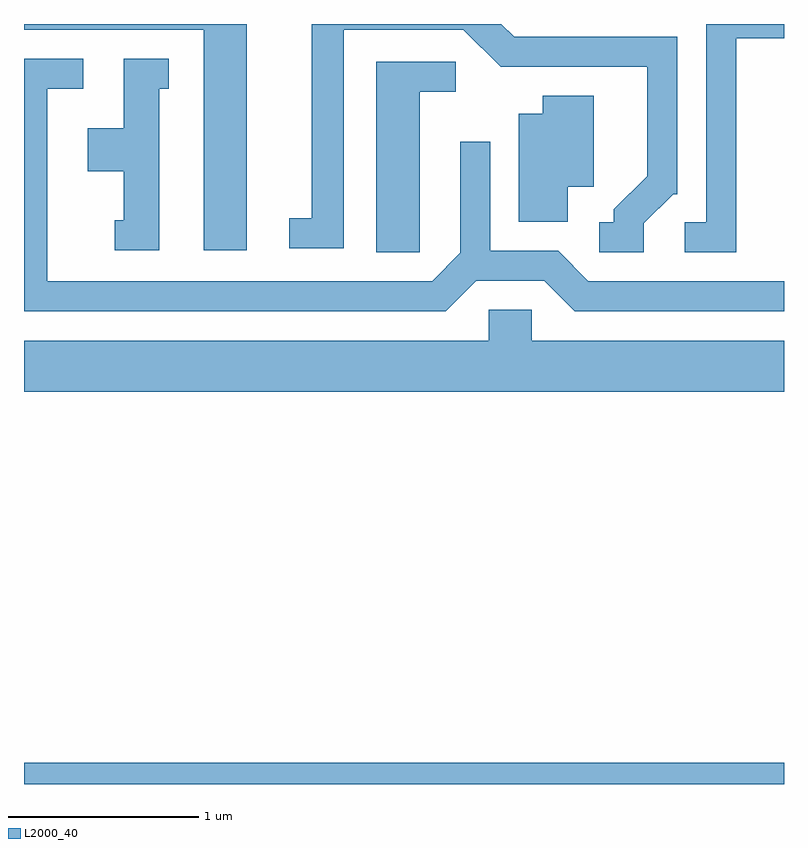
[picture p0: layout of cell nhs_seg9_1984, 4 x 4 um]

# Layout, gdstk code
import gdstk
lib = gdstk.Library(unit=1e-6, precision=1e-09)
def R(c, l, rs):  # rectangles x0, y0, x1, y1
    for r in rs: c.add(gdstk.rectangle(r[:2], r[2:], *l))
def P(c, l, *ps):  # polygons
    for p in ps: c.add(gdstk.Polygon(p, *l))
L2000_40 = (2000, 40)

nhs_seg9_1984 = lib.new_cell('nhs_seg9_1984')
R(nhs_seg9_1984, L2000_40, [(243.611,1976.432,247.611,1976.544)])
P(nhs_seg9_1984, L2000_40, [(244.784,1980.432),(243.611,1980.432),(243.611,1980.401),(244.556,1980.401),(244.556,1979.241),(244.784,1979.241)],
  [(247.359,1980.356),(247.611,1980.356),(247.611,1980.432),(247.201,1980.432),(247.201,1979.389),(247.088,1979.389),(247.088,1979.231),(247.359,1979.231)],
  [(246.874,1979.384),(247.027,1979.536),(247.049,1979.536),(247.049,1980.364),(246.192,1980.364),(246.124,1980.432),(245.126,1980.432),(245.126,1979.409),(245.008,1979.409),(245.008,1979.251),(245.294,1979.251),(245.294,1980.401),(245.924,1980.401),(246.119,1980.206),(246.891,1980.206),(246.891,1979.632),(246.716,1979.457),(246.716,1979.389),(246.638,1979.389),(246.638,1979.231),(246.874,1979.231)],
  [(245.992,1979.081),(246.349,1979.081),(246.509,1978.921),(247.611,1978.921),(247.611,1979.079),(246.582,1979.079),(246.422,1979.239),(246.064,1979.239),(246.064,1979.813),(245.906,1979.813),(245.906,1979.227),(245.759,1979.079),(243.734,1979.079),(243.734,1980.091),(243.923,1980.091),(243.923,1980.249),(243.611,1980.249),(243.611,1978.921),(245.832,1978.921)],
  [(244.324,1980.091),(244.373,1980.091),(244.373,1980.249),(244.136,1980.249),(244.136,1979.884),(243.946,1979.884),(243.946,1979.656),(244.136,1979.656),(244.136,1979.399),(244.088,1979.399),(244.088,1979.241),(244.324,1979.241)],
  [(245.694,1980.076),(245.883,1980.076),(245.883,1980.234),(245.466,1980.234),(245.466,1979.231),(245.694,1979.231)],
  [(246.474,1979.576),(246.609,1979.576),(246.609,1980.054),(246.341,1980.054),(246.341,1979.959),(246.216,1979.959),(246.216,1979.391),(246.474,1979.391)],
  [(247.611,1978.764),(246.284,1978.764),(246.284,1978.929),(246.056,1978.929),(246.056,1978.764),(243.611,1978.764),(243.611,1978.496),(247.611,1978.496)])

lib.write_gds('nhs_seg9_1984.gds')
